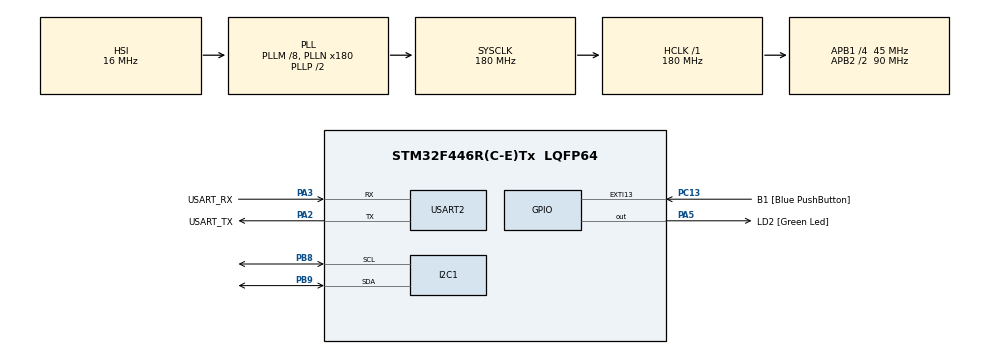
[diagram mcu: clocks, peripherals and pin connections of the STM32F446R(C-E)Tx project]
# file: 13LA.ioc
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Mcu.Family=STM32F4
Mcu.Name=STM32F446R(C-E)Tx
Mcu.Package=LQFP64
NVIC.PriorityGroup=NVIC_PRIORITYGROUP_0
NVIC.USART2_IRQn=true\:0\:0\:false\:false\:true\:true\:true\:true
PA13.GPIO_Label=TMS
PA13.Signal=SYS_JTMS-SWDIO
PA14.GPIO_Label=TCK
PA14.Signal=SYS_JTCK-SWCLK
PA2.GPIO_Label=USART_TX
PA2.Mode=Asynchronous
PA2.Signal=USART2_TX
PA3.GPIO_Label=USART_RX
PA3.Mode=Asynchronous
PA3.Signal=USART2_RX
PA5.GPIO_Label=LD2 [Green Led]
PA5.Signal=GPIO_Output
PB3.GPIO_Label=SWO
PB3.Signal=SYS_JTDO-SWO
PB8.Mode=I2C
PB8.Signal=I2C1_SCL
PB9.Mode=I2C
PB9.Signal=I2C1_SDA
PC13.GPIO_Label=B1 [Blue PushButton]
PC13.GPIO_ModeDefaultEXTI=GPIO_MODE_IT_FALLING
PC13.Signal=GPXTI13
PC14-OSC32_IN.Mode=LSE-External-Oscillator
PC14-OSC32_IN.Signal=RCC_OSC32_IN
PC15-OSC32_OUT.Mode=LSE-External-Oscillator
PC15-OSC32_OUT.Signal=RCC_OSC32_OUT
PH0-OSC_IN.Mode=HSE-External-Clock-Source
PH0-OSC_IN.Signal=RCC_OSC_IN
PH1-OSC_OUT.Mode=HSE-External-Clock-Source
PH1-OSC_OUT.Signal=RCC_OSC_OUT
ProjectManager.HeapSize=0x200
ProjectManager.StackSize=0x400
ProjectManager.TargetToolchain=STM32CubeIDE
RCC.AHBFreq_Value=180000000
RCC.APB1CLKDivider=RCC_HCLK_DIV4
RCC.APB1Freq_Value=45000000
RCC.APB1TimFreq_Value=90000000
RCC.APB2CLKDivider=RCC_HCLK_DIV2
RCC.APB2Freq_Value=90000000
RCC.APB2TimFreq_Value=180000000
RCC.CortexFreq_Value=180000000
RCC.FLatency-AdvancedSettings=FLASH_LATENCY_5
RCC.HCLKFreq_Value=180000000
RCC.HSE_VALUE=8000000
RCC.HSI_VALUE=16000000
RCC.PLLM=8
RCC.PLLN=180
RCC.RCC_RTC_Clock_SourceVirtual=RCC_RTCCLKSOURCE_LSE
RCC.SYSCLKFreq_VALUE=180000000
RCC.SYSCLKSource=RCC_SYSCLKSOURCE_PLLCLK
RCC.USBFreq_Value=180000000
RCC.VCOOutputFreq_Value=360000000
RTC.Alarm=RTC_ALARM_A
RTC.AsynchPrediv=126-1
RTC.Date=8
RTC.Hours=9
RTC.Minutes=17
RTC.SynchPrediv=260-1
RTC.WeekDay=RTC_WEEKDAY_THURSDAY
USART2.VirtualMode=VM_ASYNC
VP_RTC_VS_RTC_Activate.Mode=RTC_Enabled
VP_RTC_VS_RTC_Alarm_A_Intern.Mode=Alarm A
VP_RTC_VS_RTC_Calendar.Mode=RTC_Calendar
board=NUCLEO-F446RE

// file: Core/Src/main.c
/* USER CODE BEGIN Header */
/**
  ******************************************************************************
  * @file           : main.c
  * @brief          : Main program body
  ******************************************************************************
  * @attention
  *
  * Copyright (c) 2026 STMicroelectronics.
  * All rights reserved.
  *
  * This software is licensed under terms that can be found in the LICENSE file
  * in the root directory of this software component.
  * If no LICENSE file comes with this software, it is provided AS-IS.
  *
  ******************************************************************************
  */
/* USER CODE END Header */
#include "main.h"

/* USER CODE BEGIN Includes */
#include <stdio.h>
#include <string.h>

#include "i2c_lcd.h"
//https://github.com/alixahedi/I2C-LCD-STM32

/* USER CODE END Includes */

I2C_HandleTypeDef hi2c1;

RTC_HandleTypeDef hrtc;

UART_HandleTypeDef huart2;

/* USER CODE BEGIN PV */

I2C_LCD_HandleTypeDef lcd1;

/* USER CODE END PV */

void SystemClock_Config(void);
static void MX_GPIO_Init(void);
static void MX_RTC_Init(void);
static void MX_USART2_UART_Init(void);
static void MX_I2C1_Init(void);

int main(void)
{

  /* MCU Configuration--------------------------------------------------------*/

  /* Reset of all peripherals, Initializes the Flash interface and the Systick. */
  HAL_Init();

  /* Configure the system clock */
  SystemClock_Config();

  /* Initialize all configured peripherals */
  MX_GPIO_Init();
  MX_RTC_Init();
  MX_USART2_UART_Init();
  MX_I2C1_Init();
  /* USER CODE BEGIN 2 */
  RTC_TimeTypeDef sTime = {0};
  RTC_DateTypeDef sDate = {0};
  char chTemp[100];

  lcd1.hi2c = &hi2c1;     // hi2c1 is your I2C handler
  lcd1.address = 0x4E;    // I2C address for the first LCD
  lcd_init(&lcd1);        // Initialize the first LCD

  /* USER CODE END 2 */

  /* Infinite loop */
  /* USER CODE BEGIN WHILE */
  while (1)
  {

	  HAL_RTC_GetDate(&hrtc, &sDate, RTC_FORMAT_BIN);
	  //sprintf(chTemp,"%02d.%02d.%04d\t",sDate.Date,sDate.Month,sDate.Year+2000);
	  //HAL_UART_Transmit(&huart2, (uint8_t*)chTemp, strlen(chTemp), HAL_MAX_DELAY);
	  sprintf(chTemp,"%02d.%02d.%04d",sDate.Date,sDate.Month,sDate.Year+2000);
	  lcd_gotoxy(&lcd1, 3, 0);
	  lcd_puts(&lcd1, chTemp);

	  HAL_RTC_GetTime(&hrtc, &sTime, RTC_FORMAT_BIN);
	  //sprintf(chTemp,"%02d:%02d:%02d\r\n",sTime.Hours,sTime.Minutes,sTime.Seconds);
	  //HAL_UART_Transmit(&huart2, (uint8_t*)chTemp, strlen(chTemp), HAL_MAX_DELAY);
	  sprintf(chTemp,"%02d:%02d:%02d",sTime.Hours,sTime.Minutes,sTime.Seconds);
	  lcd_gotoxy(&lcd1,4, 1);
	  lcd_puts(&lcd1, chTemp);

	  HAL_Delay(300);

    /* USER CODE END WHILE */

  }
}

void SystemClock_Config(void)
{
  RCC_OscInitTypeDef RCC_OscInitStruct = {0};
  RCC_ClkInitTypeDef RCC_ClkInitStruct = {0};

  /** Configure the main internal regulator output voltage
  */
  __HAL_RCC_PWR_CLK_ENABLE();
  __HAL_PWR_VOLTAGESCALING_CONFIG(PWR_REGULATOR_VOLTAGE_SCALE1);

  /** Initializes the RCC Oscillators according to the specified parameters
  * in the RCC_OscInitTypeDef structure.
  */
  RCC_OscInitStruct.OscillatorType = RCC_OSCILLATORTYPE_HSI|RCC_OSCILLATORTYPE_LSE;
  RCC_OscInitStruct.LSEState = RCC_LSE_ON;
  RCC_OscInitStruct.HSIState = RCC_HSI_ON;
  RCC_OscInitStruct.HSICalibrationValue = RCC_HSICALIBRATION_DEFAULT;
  RCC_OscInitStruct.PLL.PLLState = RCC_PLL_ON;
  RCC_OscInitStruct.PLL.PLLSource = RCC_PLLSOURCE_HSI;
  RCC_OscInitStruct.PLL.PLLM = 8;
  RCC_OscInitStruct.PLL.PLLN = 180;
  RCC_OscInitStruct.PLL.PLLP = RCC_PLLP_DIV2;
  RCC_OscInitStruct.PLL.PLLQ = 2;
  RCC_OscInitStruct.PLL.PLLR = 2;
  if (HAL_RCC_OscConfig(&RCC_OscInitStruct) != HAL_OK)
  {
    Error_Handler();
  }

  /** Activate the Over-Drive mode
  */
  if (HAL_PWREx_EnableOverDrive() != HAL_OK)
  {
    Error_Handler();
  }

  /** Initializes the CPU, AHB and APB buses clocks
  */
  RCC_ClkInitStruct.ClockType = RCC_CLOCKTYPE_HCLK|RCC_CLOCKTYPE_SYSCLK
                              |RCC_CLOCKTYPE_PCLK1|RCC_CLOCKTYPE_PCLK2;
  RCC_ClkInitStruct.SYSCLKSource = RCC_SYSCLKSOURCE_PLLCLK;
  RCC_ClkInitStruct.AHBCLKDivider = RCC_SYSCLK_DIV1;
  RCC_ClkInitStruct.APB1CLKDivider = RCC_HCLK_DIV4;
  RCC_ClkInitStruct.APB2CLKDivider = RCC_HCLK_DIV2;

  if (HAL_RCC_ClockConfig(&RCC_ClkInitStruct, FLASH_LATENCY_5) != HAL_OK)
  {
    Error_Handler();
  }
}

static void MX_I2C1_Init(void)
{

  hi2c1.Instance = I2C1;
  hi2c1.Init.ClockSpeed = 100000;
  hi2c1.Init.DutyCycle = I2C_DUTYCYCLE_2;
  hi2c1.Init.OwnAddress1 = 0;
  hi2c1.Init.AddressingMode = I2C_ADDRESSINGMODE_7BIT;
  hi2c1.Init.DualAddressMode = I2C_DUALADDRESS_DISABLE;
  hi2c1.Init.OwnAddress2 = 0;
  hi2c1.Init.GeneralCallMode = I2C_GENERALCALL_DISABLE;
  hi2c1.Init.NoStretchMode = I2C_NOSTRETCH_DISABLE;
  if (HAL_I2C_Init(&hi2c1) != HAL_OK)
  {
    Error_Handler();
  }

}

static void MX_RTC_Init(void)
{

  RTC_TimeTypeDef sTime = {0};
  RTC_DateTypeDef sDate = {0};
  RTC_AlarmTypeDef sAlarm = {0};

  /** Initialize RTC Only
  */
  hrtc.Instance = RTC;
  hrtc.Init.HourFormat = RTC_HOURFORMAT_24;
  hrtc.Init.AsynchPrediv = 126-1;
  hrtc.Init.SynchPrediv = 260-1;
  hrtc.Init.OutPut = RTC_OUTPUT_DISABLE;
  hrtc.Init.OutPutPolarity = RTC_OUTPUT_POLARITY_HIGH;
  hrtc.Init.OutPutType = RTC_OUTPUT_TYPE_OPENDRAIN;
  if (HAL_RTC_Init(&hrtc) != HAL_OK)
  {
    Error_Handler();
  }

  /* USER CODE BEGIN Check_RTC_BKUP */
  if(hrtc.Instance->BKP0R == 0x1236) return;
  hrtc.Instance->BKP0R = 0x1236;

  /* USER CODE END Check_RTC_BKUP */

  /** Initialize RTC and set the Time and Date
  */
  sTime.Hours = 0x9;
  sTime.Minutes = 0x34;
  sTime.Seconds = 0x0;
  sTime.DayLightSaving = RTC_DAYLIGHTSAVING_NONE;
  sTime.StoreOperation = RTC_STOREOPERATION_RESET;
  if (HAL_RTC_SetTime(&hrtc, &sTime, RTC_FORMAT_BCD) != HAL_OK)
  {
    Error_Handler();
  }
  sDate.WeekDay = RTC_WEEKDAY_THURSDAY;
  sDate.Month = RTC_MONTH_JANUARY;
  sDate.Date = 0x8;
  sDate.Year = 0x26;

  if (HAL_RTC_SetDate(&hrtc, &sDate, RTC_FORMAT_BCD) != HAL_OK)
  {
    Error_Handler();
  }

  /** Enable the Alarm A
  */
  sAlarm.AlarmTime.Hours = 0x0;
  sAlarm.AlarmTime.Minutes = 0x0;
  sAlarm.AlarmTime.Seconds = 0x0;
  sAlarm.AlarmTime.SubSeconds = 0x0;
  sAlarm.AlarmTime.DayLightSaving = RTC_DAYLIGHTSAVING_NONE;
  sAlarm.AlarmTime.StoreOperation = RTC_STOREOPERATION_RESET;
  sAlarm.AlarmMask = RTC_ALARMMASK_NONE;
  sAlarm.AlarmSubSecondMask = RTC_ALARMSUBSECONDMASK_ALL;
  sAlarm.AlarmDateWeekDaySel = RTC_ALARMDATEWEEKDAYSEL_DATE;
  sAlarm.AlarmDateWeekDay = 0x1;
  sAlarm.Alarm = RTC_ALARM_A;
  if (HAL_RTC_SetAlarm(&hrtc, &sAlarm, RTC_FORMAT_BCD) != HAL_OK)
  {
    Error_Handler();
  }

}

static void MX_USART2_UART_Init(void)
{

  huart2.Instance = USART2;
  huart2.Init.BaudRate = 115200;
  huart2.Init.WordLength = UART_WORDLENGTH_8B;
  huart2.Init.StopBits = UART_STOPBITS_1;
  huart2.Init.Parity = UART_PARITY_NONE;
  huart2.Init.Mode = UART_MODE_TX_RX;
  huart2.Init.HwFlowCtl = UART_HWCONTROL_NONE;
  huart2.Init.OverSampling = UART_OVERSAMPLING_16;
  if (HAL_UART_Init(&huart2) != HAL_OK)
  {
    Error_Handler();
  }

}

static void MX_GPIO_Init(void)
{
  GPIO_InitTypeDef GPIO_InitStruct = {0};

  /* GPIO Ports Clock Enable */
  __HAL_RCC_GPIOC_CLK_ENABLE();
  __HAL_RCC_GPIOH_CLK_ENABLE();
  __HAL_RCC_GPIOA_CLK_ENABLE();
  __HAL_RCC_GPIOB_CLK_ENABLE();

  /*Configure GPIO pin Output Level */
  HAL_GPIO_WritePin(LD2_GPIO_Port, LD2_Pin, GPIO_PIN_RESET);

  /*Configure GPIO pin : B1_Pin */
  GPIO_InitStruct.Pin = B1_Pin;
  GPIO_InitStruct.Mode = GPIO_MODE_IT_FALLING;
  GPIO_InitStruct.Pull = GPIO_NOPULL;
  HAL_GPIO_Init(B1_GPIO_Port, &GPIO_InitStruct);

  /*Configure GPIO pin : LD2_Pin */
  GPIO_InitStruct.Pin = LD2_Pin;
  GPIO_InitStruct.Mode = GPIO_MODE_OUTPUT_PP;
  GPIO_InitStruct.Pull = GPIO_NOPULL;
  GPIO_InitStruct.Speed = GPIO_SPEED_FREQ_LOW;
  HAL_GPIO_Init(LD2_GPIO_Port, &GPIO_InitStruct);

}

/* USER CODE BEGIN 4 */
void HAL_RTC_AlarmAEventCallback(RTC_HandleTypeDef *hrtc)
{
  /* Prevent unused argument(s) compilation warning */
  UNUSED(hrtc);

  /* NOTE: This function should not be modified, when the callback is needed,
           the HAL_RTC_AlarmAEventCallback could be implemented in the user file
   */

  return;
}

/* USER CODE END 4 */

void Error_Handler(void)
{
  __disable_irq();
  while (1)
  {
  }
}
